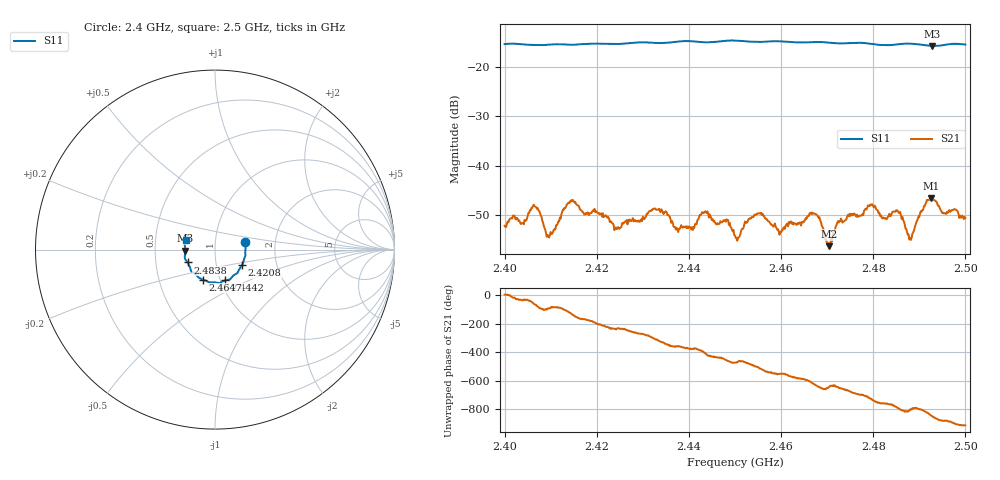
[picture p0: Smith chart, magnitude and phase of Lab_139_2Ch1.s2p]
# Hz S RI R 50
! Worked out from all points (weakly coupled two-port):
!   601 points, 2.4 GHz to 2.5 GHz, reference 50 ohm
!   highest |S21| = -46.63 dB at 2.4925 GHz (marker M1); lowest = -56.4 dB at 2.4705 GHz (marker M2)
!   lowest |S11| = -15.6 dB at 2.4928 GHz (marker M3), VSWR 1.40, Z = 35.8 - j0.369 ohm
!   |S11| at or under -10 dB: start of sweep to end of sweep
!   S12 and S22 are empty: the file has one direction only
!   S11 on the Smith chart (normalised r, x): 2.4 GHz: 1.40, +0.12; 2.4208 GHz: 1.33, -0.24; 2.4442 GHz: 1.05, -0.37; 2.4647 GHz: 0.83, -0.29; 2.4838 GHz: 0.73, -0.11; 2.5 GHz: 0.72, +0.08
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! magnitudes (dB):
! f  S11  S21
! 2.4 GHz  -15.2  -52.3
! 2.4067 GHz  -15.4  -48.4
! 2.4097 GHz  -15.3  -54.7
! 2.414 GHz  -15.4  -47.7
! 2.4167 GHz  -15.3  -49.2
! 2.4208 GHz  -15.2  -49.9
! 2.4243 GHz  -15.2  -53.0
! 2.4333 GHz  -15.0  -49.0
! 2.4375 GHz  -14.7  -53.0
! 2.4442 GHz  -14.9  -49.7
! 2.45 GHz  -14.5  -54.3
! 2.4552 GHz  -14.8  -49.7
! 2.4647 GHz  -14.9  -51.5
! 2.4667 GHz  -14.8  -49.9
! 2.4705 GHz  -15.0  -56.4
! 2.4793 GHz  -15.2  -48.2
! 2.4833 GHz  -15.5  -50.3
! 2.4838 GHz  -15.4  -50.2
! 2.488 GHz  -15.2  -54.8
! 2.4925 GHz  -15.6  -46.6
! 2.4928 GHz  -15.6  -46.8
! 2.5 GHz  -15.3  -50.7
